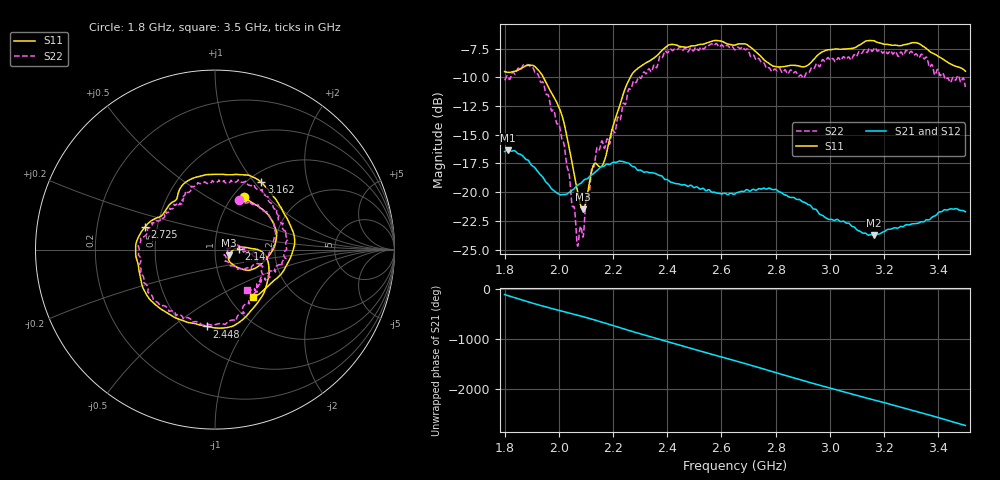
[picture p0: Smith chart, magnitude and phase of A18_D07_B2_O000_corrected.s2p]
! Created with skrf 1.9.0 (http://scikit-rf.org).
# Hz S RI R 50.0
!freq ReS11 ImS11 ReS21 ImS21 ReS12 ImS12 ReS22 ImS22
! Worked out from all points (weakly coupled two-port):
!   1601 points, 1.8 GHz to 3.5 GHz, reference 50 ohm
!   highest |S21| = -16.35 dB at 1.812 GHz (marker M1); lowest = -23.8 dB at 3.162 GHz (marker M2)
!   lowest |S11| = -21.5 dB at 2.089 GHz (marker M3), VSWR 1.18, Z = 58.3 - j3.79 ohm
!   |S11| at or under -10 dB: 1.943 GHz to 2.264 GHz (320.3 MHz wide, 15.2 % of centre)
!   |S22| runs from -24.7 to -7.1 dB; largest |S21 - S12| = 0.0028
!   S11 on the Smith chart (normalised r, x): 1.8 GHz: 1.12, +0.74; 2.14 GHz: 1.31, +0.01; 2.448 GHz: 0.64, -0.67; 2.725 GHz: 0.43, +0.13; 3.162 GHz: 1.14, +1.09; 3.5 GHz: 1.28, -0.76
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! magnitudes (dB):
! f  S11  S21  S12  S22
! 1.8 GHz  -9.5  -16.5  -16.5  -10.3
! 1.812 GHz  -9.6  -16.4  -16.4  -9.9
! 1.885 GHz  -9.0  -17.2  -17.2  -8.9
! 1.941 GHz  -9.9  -18.7  -18.7  -10.4
! 2.013 GHz  -13.4  -20.2  -20.2  -15.5
! 2.067 GHz  -19.7  -19.5  -19.5  -24.3
! 2.084 GHz  -21.3  -19.2  -19.1  -23.2
! 2.089 GHz  -21.5  -19.0  -19.1  -23.9
! 2.124 GHz  -17.9  -18.4  -18.4  -17.7
! 2.14 GHz  -17.6  -18.1  -18.1  -16.2
! 2.167 GHz  -17.4  -17.7  -17.7  -16.1
! 2.264 GHz  -10.0  -17.6  -17.6  -11.0
! 2.367 GHz  -8.0  -18.5  -18.5  -8.6
! 2.448 GHz  -7.3  -19.3  -19.3  -7.4
! 2.65 GHz  -7.2  -20.1  -20.1  -7.6
! 2.725 GHz  -7.7  -19.8  -19.8  -8.4
! 2.798 GHz  -9.1  -19.8  -19.7  -9.3
! 2.934 GHz  -8.6  -21.3  -21.3  -9.1
! 3.162 GHz  -6.8  -23.8  -23.7  -7.5
! 3.217 GHz  -7.2  -23.2  -23.2  -7.8
! 3.325 GHz  -7.0  -22.7  -22.7  -8.2
! 3.5 GHz  -9.5  -21.7  -21.7  -10.8
